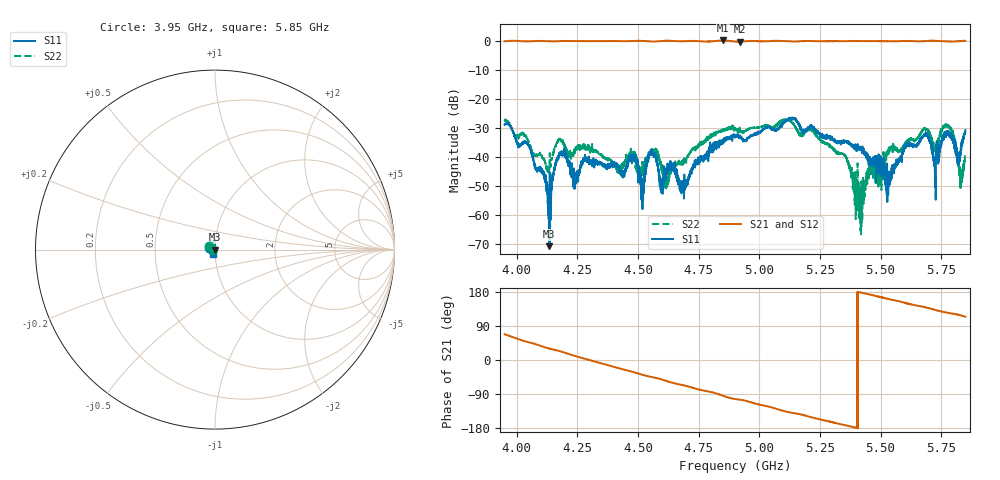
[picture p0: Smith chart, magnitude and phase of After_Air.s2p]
# GHZ S RI R 50.000000000000
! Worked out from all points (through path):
!   4501 points, 3.95 GHz to 5.85 GHz, reference 50 ohm
!   highest |S21| = 0.15 dB at 4.851 GHz (marker M1); lowest = -0.3 dB at 4.92 GHz (marker M2)
!   group delay of S21, straight-line fit = 452 ps
!   lowest |S11| = -70.7 dB at 4.135 GHz (marker M3), VSWR 1.00, Z = 50 - j0.0229 ohm
!   |S11| at or under -10 dB: start of sweep to end of sweep
!   |S22| runs from -66.6 to -27.0 dB; largest |S21 - S12| = 0.031
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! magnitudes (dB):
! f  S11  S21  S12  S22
! 3.95 GHz  -28.8  -0.1  -0.2  -27.5
! 4.048 GHz  -36.0  -0.1  -0.1  -34.8
! 4.135 GHz  -70.7  -0.1  -0.1  -44.0
! 4.176 GHz  -39.3  -0.1  -0.1  -34.0
! 4.267 GHz  -42.3  -0.1  -0.1  -36.8
! 4.42 GHz  -43.4  -0.1  -0.1  -44.1
! 4.584 GHz  -44.9  -0.1  -0.2  -40.4
! 4.617 GHz  -43.9  0.0  0.0  -50.2
! 4.687 GHz  -50.1  -0.1  -0.1  -41.3
! 4.851 GHz  -34.9  0.2  0.2  -30.0
! 4.9 GHz  -33.3  -0.2  -0.2  -29.9
! 4.92 GHz  -33.5  -0.3  -0.3  -30.5
! 5.217 GHz  -29.2  0.0  0.0  -30.5
! 5.355 GHz  -34.7  -0.1  -0.1  -39.6
! 5.419 GHz  -36.5  -0.1  -0.1  -66.6
! 5.534 GHz  -46.0  -0.1  -0.1  -38.7
! 5.61 GHz  -35.4  0.0  -0.1  -34.1
! 5.691 GHz  -32.6  0.0  -0.1  -30.4
! 5.722 GHz  -42.9  0.0  0.0  -37.6
! 5.774 GHz  -32.4  -0.2  -0.2  -29.4
! 5.831 GHz  -36.8  0.0  0.0  -50.5
! 5.85 GHz  -30.7  0.0  0.1  -38.6
